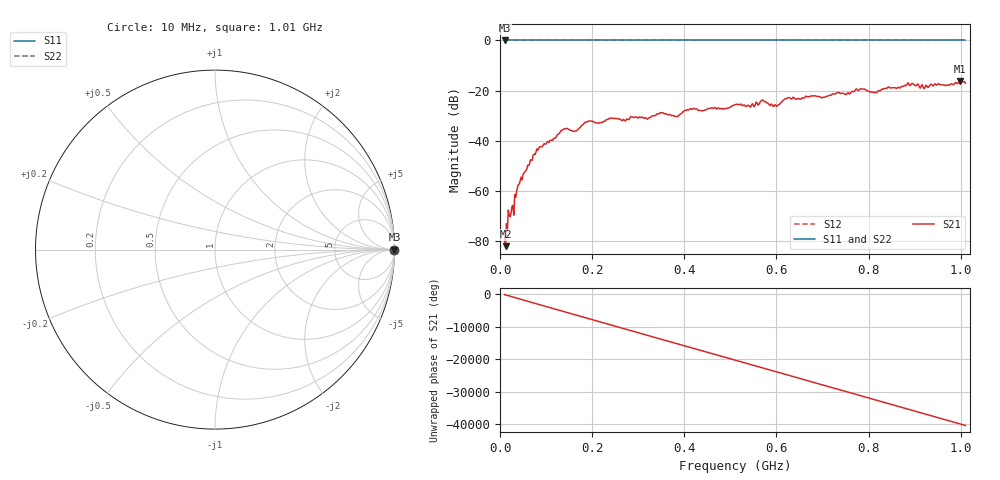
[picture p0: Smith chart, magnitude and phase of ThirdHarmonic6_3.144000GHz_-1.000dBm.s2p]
! 8/17/2025 9:23:45 AM
! C:\ANRITSUVNA\TEMP\TEMP.S2P
! CHANNEL.1
! TR.MEASUREMENT
! RAW.DATA
! RF.CORRECTION.OFF
! AVERAGING.OFF
! IF.BANDWIDTH: 5KHZ
! SWEEPTYPE:  FREQ.SWEEP(Linear)
! Reference Plane Port Info
! PORT:  PORT1  PORT2
! DISTANCE:  0  m  0  m
! TIME:  0  s  0  s
! PHASE.OFFSET:  0  deg.  0  deg.
! LOSS:  0  dB  0  dB
! REF.LOSS:  0  dB  0  dB
! REF.FREQ:  0  Hz  0  Hz
! Power Info
! POWER:  -20  dBm  -20  dBm
! EFF.POWER:  -20  dBm  -20  dBm
! SOURCE.ATTEN:  0  dB  0  dB
! TEST.ATTEN:  0  dB  0  dB
# GHZ S RI R 50.0
! FREQ.GHZ  S11RE  S11IM  S21RE  S21IM  S12RE  S12IM  S22RE  S22IM
!; PortSelection: Port_12
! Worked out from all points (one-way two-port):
!   501 points, 10 MHz to 1.01 GHz, reference 50 ohm
!   highest |S21| = -16.13 dB at 998 MHz (marker M1); lowest = -82.0 dB at 12 MHz (marker M2)
!   lowest |S11| = 0.0 dB at 10 MHz (marker M3)
!   |S11| at or under -10 dB: nowhere
!   |S22| runs from 0.0 to 0.0 dB; largest |S21 - S12| = 1.1
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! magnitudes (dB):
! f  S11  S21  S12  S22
! 10 MHz  0.0  -78.9  0.0  0.0
! 12 MHz  0.0  -82.0  0.0  0.0
! 22 MHz  0.0  -70.2  0.0  0.0
! 26 MHz  0.0  -66.1  0.0  0.0
! 42 MHz  0.0  -57.2  0.0  0.0
! 76 MHz  0.0  -45.5  0.0  0.0
! 136 MHz  0.0  -35.7  0.0  0.0
! 164 MHz  0.0  -36.1  0.0  0.0
! 178 MHz  0.0  -33.8  0.0  0.0
! 344 MHz  0.0  -29.3  0.0  0.0
! 382 MHz  0.0  -30.2  0.0  0.0
! 416 MHz  0.0  -27.5  0.0  0.0
! 510 MHz  0.0  -25.6  0.0  0.0
! 570 MHz  0.0  -23.7  0.0  0.0
! 598 MHz  0.0  -25.7  0.0  0.0
! 624 MHz  0.0  -23.0  0.0  0.0
! 678 MHz  0.0  -22.1  0.0  0.0
! 786 MHz  0.0  -19.4  0.0  0.0
! 814 MHz  0.0  -20.6  0.0  0.0
! 844 MHz  0.0  -18.5  0.0  0.0
! 998 MHz  0.0  -16.1  0.0  0.0
! 1.01 GHz  0.0  -17.0  0.0  0.0
